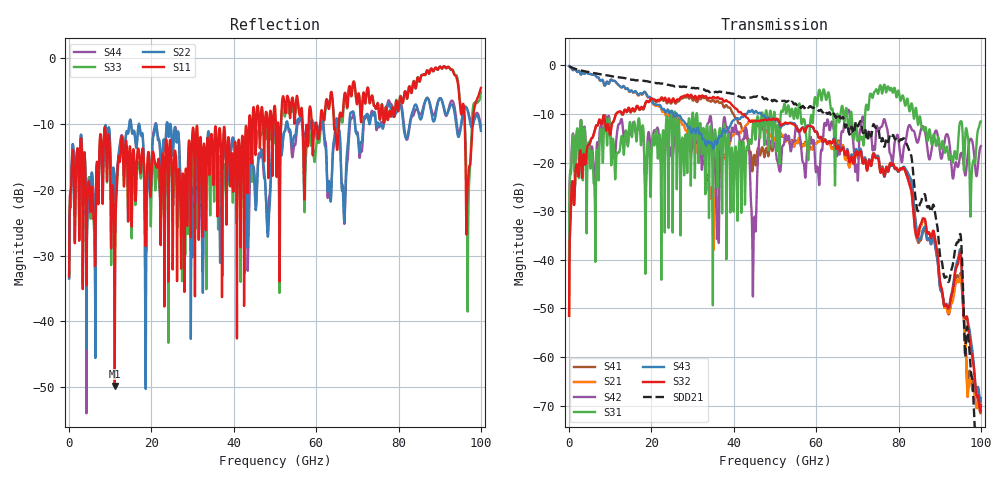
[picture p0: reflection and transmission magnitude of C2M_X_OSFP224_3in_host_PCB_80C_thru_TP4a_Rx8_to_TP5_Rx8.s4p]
# GHz S RI R 45
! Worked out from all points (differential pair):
!   4000 points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, 25 MHz to 100 GHz, reference 45 ohm
!   strongest paths, dB at 25 MHz, 25.02 GHz, 50.02 GHz, 75.03 GHz, 100 GHz:
!     S32: -51.5, -7.2, -11.2, -19.1, -70.0
!     S43: -0.2, -9.4, -11.4, -18.8, -68.5
!     S31: -39.7, -15.6, -10.6, -5.9, -11.5
!     S42: -39.7, -19.0, -16.3, -13.4, -16.6
!     S21: -0.2, -9.8, -14.9, -18.9, -69.6
!     S41: -51.5, -7.5, -16.3, -18.6, -71.1
!   taken as a pair (ports 3,1 in; 4,2 out), SDD21 dB: -0.1, -4.1, -7.2, -12.8, -76.3
!   lowest |S11| = -49.8 dB at 11.1 GHz (marker M1), VSWR 1.01, Z = 44.9 + j0.285 ohm
!   |S11| at or under -10 dB: start of sweep to 43.7 GHz; 56.74 GHz to 58.18 GHz (1.445 GHz wide, 2.51 % of centre); 96.08 GHz to 98 GHz (1.925 GHz wide, 1.98 % of centre)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
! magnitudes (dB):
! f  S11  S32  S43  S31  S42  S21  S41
! 25 MHz  -33.1  -51.5  -0.2  -39.7  -39.7  -0.2  -51.5
! 11.1 GHz  -49.8  -10.7  -3.2  -21.6  -19.2  -3.2  -10.8
! 35.38 GHz  -11.4  -6.7  -15.8  -13.2  -19.4  -26.3  -7.6
! 81.47 GHz  -5.2  -21.3  -21.0  -7.8  -16.3  -21.5  -21.1
! 94.9 GHz  -6.9  -38.5  -37.9  -11.8  -18.8  -43.5  -43.1
! 96.92 GHz  -18.2  -53.8  -53.3  -15.2  -17.1  -66.7  -65.4
! 100 GHz  -4.5  -70.0  -68.5  -11.5  -16.6  -69.6  -71.1
